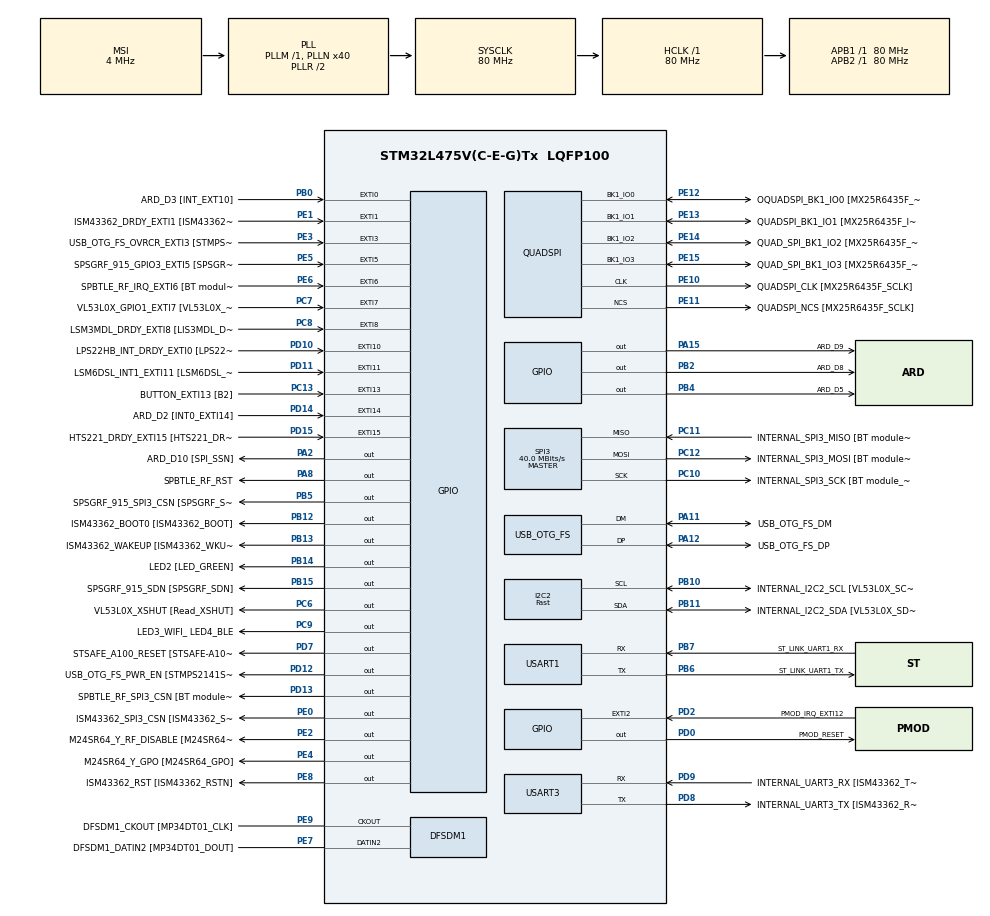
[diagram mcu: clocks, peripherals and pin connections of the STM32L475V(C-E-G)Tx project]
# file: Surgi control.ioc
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DFSDM1.DmaMode_reg_FIL0=ENABLE
DFSDM1.Filter_regChannel_FIL0=DFSDM_CHANNEL_2
Dma.DFSDM1_FLT0.0.Direction=DMA_PERIPH_TO_MEMORY
Dma.DFSDM1_FLT0.0.Instance=DMA1_Channel4
Dma.DFSDM1_FLT0.0.MemDataAlignment=DMA_MDATAALIGN_WORD
Dma.DFSDM1_FLT0.0.MemInc=DMA_MINC_ENABLE
Dma.DFSDM1_FLT0.0.Mode=DMA_CIRCULAR
Dma.DFSDM1_FLT0.0.PeriphDataAlignment=DMA_PDATAALIGN_WORD
Dma.DFSDM1_FLT0.0.PeriphInc=DMA_PINC_DISABLE
Dma.DFSDM1_FLT0.0.Priority=DMA_PRIORITY_LOW
Dma.Request0=DFSDM1_FLT0
I2C2.I2C_Speed_Mode=I2C_Fast
I2C2.Timing=0x00F12981
Mcu.Family=STM32L4
Mcu.Name=STM32L475V(C-E-G)Tx
Mcu.Package=LQFP100
NVIC.DFSDM1_FLT0_IRQn=true\:0\:0\:false\:false\:true\:true\:true\:true
NVIC.DMA1_Channel4_IRQn=true\:0\:0\:false\:false\:true\:false\:true\:true
NVIC.EXTI15_10_IRQn=true\:0\:0\:false\:false\:true\:true\:true\:true
NVIC.EXTI9_5_IRQn=true\:0\:0\:false\:false\:true\:true\:true\:true
NVIC.OTG_FS_IRQn=true\:0\:0\:false\:false\:true\:false\:true\:true
NVIC.PriorityGroup=NVIC_PRIORITYGROUP_4
PA0.GPIO_Label=ARD_D1 [UART4_TX]
PA0.Signal=UART4_TX
PA1.GPIO_Label=ARD_D0 [UART4_RX]
PA1.Signal=UART4_RX
PA10.GPIO_Label=USB_OTG_FS_ID
PA10.Signal=USB_OTG_FS_ID
PA11.GPIO_Label=USB_OTG_FS_DM
PA11.Mode=Device_Only
PA11.Signal=USB_OTG_FS_DM
PA12.GPIO_Label=USB_OTG_FS_DP
PA12.Mode=Device_Only
PA12.Signal=USB_OTG_FS_DP
PA13\ (JTMS-SWDIO).GPIO_Label=SYS_JTMS_SWDIO
PA13\ (JTMS-SWDIO).Mode=Serial_Wire
PA13\ (JTMS-SWDIO).Signal=SYS_JTMS-SWDIO
PA14\ (JTCK-SWCLK).GPIO_Label=SYS_JTCK_SWCLK
PA14\ (JTCK-SWCLK).Mode=Serial_Wire
PA14\ (JTCK-SWCLK).Signal=SYS_JTCK-SWCLK
PA15\ (JTDI).GPIO_Label=ARD_D9
PA15\ (JTDI).Signal=GPIO_Output
PA2.GPIO_Label=ARD_D10 [SPI_SSN]
PA2.Signal=GPIO_Output
PA3.GPIO_Label=ARD_D4
PA3.Signal=S_TIM2_CH4
PA4.GPIO_Label=ARD_D7
PA4.Signal=ADCx_IN9
PA5.GPIO_Label=ARD_D13 [SPI1_SCK]
PA5.Signal=SPI1_SCK
PA6.GPIO_Label=ARD_D12 [SPI1_MISO]
PA6.Signal=SPI1_MISO
PA7.GPIO_Label=ARD_D11 [SPI1_MOSI]
PA7.Signal=SPI1_MOSI
PA8.GPIO_Label=SPBTLE_RF_RST
PA8.Signal=GPIO_Output
PA9.GPIO_Label=USB_OTG_FS_VBUS [STMPS2141STR_OUT]
PA9.Signal=USB_OTG_FS_VBUS
PB0.GPIO_Label=ARD_D3 [INT_EXT10]
PB0.Signal=GPXTI0
PB1.GPIO_Label=ARD_D6 [ADC1_IN6]
PB1.Signal=ADCx_IN16
PB10.GPIO_Label=INTERNAL_I2C2_SCL [VL53L0X_SCL]
PB10.GPIO_Pu=GPIO_PULLUP
PB10.Mode=I2C
PB10.Signal=I2C2_SCL
PB11.GPIO_Label=INTERNAL_I2C2_SDA [VL53L0X_SDA]
PB11.GPIO_Pu=GPIO_PULLUP
PB11.Mode=I2C
PB11.Signal=I2C2_SDA
PB12.GPIO_Label=ISM43362_BOOT0 [ISM43362_BOOT]
PB12.Signal=GPIO_Output
PB13.GPIO_Label=ISM43362_WAKEUP [ISM43362_WKUP]
PB13.Signal=GPIO_Output
PB14.GPIO_Label=LED2 [LED_GREEN]
PB14.Signal=GPIO_Output
PB15.GPIO_Label=SPSGRF_915_SDN [SPSGRF_SDN]
PB15.Signal=GPIO_Output
PB2.GPIO_Label=ARD_D8
PB2.Signal=GPIO_Output
PB3\ (JTDO-TRACESWO).GPIO_Label=SYS_JTD0_SWO
PB3\ (JTDO-TRACESWO).Signal=SYS_JTDO-SWO
PB4\ (NJTRST).GPIO_Label=ARD_D5
PB4\ (NJTRST).Signal=GPIO_Output
PB5.GPIO_Label=SPSGRF_915_SPI3_CSN [SPSGRF_SPI_CS]
PB5.PinState=GPIO_PIN_SET
PB5.Signal=GPIO_Output
PB6.GPIO_Label=ST_LINK_UART1_TX
PB6.Mode=Asynchronous
PB6.Signal=USART1_TX
PB7.GPIO_Label=ST_LINK_UART1_RX
PB7.Mode=Asynchronous
PB7.Signal=USART1_RX
PB8.GPIO_Label=ARD_D15 [I2C1_SCL]
PB8.Signal=I2C1_SCL
PB9.GPIO_Label=ARD_D14 [I2C1_SDA]
PB9.Signal=I2C1_SDA
PC0.GPIO_Label=ARD_A5 [ADC]
PC0.Signal=ADCx_IN1
PC1.GPIO_Label=ARD_A4 [ADC]
PC1.Signal=ADCx_IN2
PC10.GPIO_Label=INTERNAL_SPI3_SCK [BT module_SPI_SCLK] [ISM43362_SCK]
PC10.Mode=Full_Duplex_Master
PC10.Signal=SPI3_SCK
PC11.GPIO_Label=INTERNAL_SPI3_MISO [BT module_SPI_MISO] [ISM43362_MISO]
PC11.Mode=Full_Duplex_Master
PC11.Signal=SPI3_MISO
PC12.GPIO_Label=INTERNAL_SPI3_MOSI [BT module_SPI_MOSI] [ISM43362_MOSI]
PC12.Mode=Full_Duplex_Master
PC12.Signal=SPI3_MOSI
PC13.GPIO_Label=BUTTON_EXTI13 [B2]
PC13.GPIO_ModeDefaultEXTI=GPIO_MODE_IT_FALLING
PC13.Signal=GPXTI13
PC14-OSC32_IN\ (PC14).Mode=LSE-External-Oscillator
PC14-OSC32_IN\ (PC14).Signal=RCC_OSC32_IN
PC15-OSC32_OUT\ (PC15).Mode=LSE-External-Oscillator
PC15-OSC32_OUT\ (PC15).Signal=RCC_OSC32_OUT
PC2.GPIO_Label=ARD_A3 [ADC]
PC2.Signal=ADCx_IN3
PC3.GPIO_Label=ARD_A2 [ADC]
PC3.Signal=ADCx_IN4
PC4.GPIO_Label=ARD_A1 [ADC]
PC4.Signal=ADCx_IN13
PC5.GPIO_Label=ARD_A0 [ADC]
PC5.Signal=ADCx_IN14
PC6.GPIO_Label=VL53L0X_XSHUT [Read_XSHUT]
PC6.Signal=GPIO_Output
PC7.GPIO_Label=VL53L0X_GPIO1_EXTI7 [VL53L0X_GPIO1]
PC7.Signal=GPXTI7
PC8.GPIO_Label=LSM3MDL_DRDY_EXTI8 [LIS3MDL_DRDY]
PC8.Signal=GPXTI8
PC9.GPIO_Label=LED3_WIFI_ LED4_BLE
PC9.Signal=GPIO_Output
PD0.GPIO_Label=PMOD_RESET
PD0.Signal=GPIO_Output
PD1.GPIO_Label=PMOD_SPI2_SCK
PD1.Signal=SPI2_SCK
PD10.GPIO_Label=LPS22HB_INT_DRDY_EXTI0 [LPS22HB_INT_DRDY] 
PD10.Signal=GPXTI10
PD11.GPIO_Label=LSM6DSL_INT1_EXTI11 [LSM6DSL_INT1]
PD11.Signal=GPXTI11
PD12.GPIO_Label=USB_OTG_FS_PWR_EN [STMPS2141STR_EN]
PD12.Signal=GPIO_Output
PD13.GPIO_Label=SPBTLE_RF_SPI3_CSN [BT module_SPI_CS]
PD13.PinState=GPIO_PIN_SET
PD13.Signal=GPIO_Output
PD14.GPIO_Label=ARD_D2 [INT0_EXTI14]
PD14.Signal=GPXTI14
PD15.GPIO_Label=HTS221_DRDY_EXTI15 [HTS221_DRDY]
PD15.Signal=GPXTI15
PD2.GPIO_Label=PMOD_IRQ_EXTI12
PD2.Signal=GPXTI2
PD3.GPIO_Label=PMOD_UART2_CTS
PD3.Signal=USART2_CTS
PD4.GPIO_Label=PMOD_UART2_RTS
PD4.Signal=USART2_RTS
PD5.GPIO_Label=PMOD_UART2_TX
PD5.Signal=USART2_TX
PD6.GPIO_Label=PMOD_UART2_RX
PD6.Signal=USART2_RX
PD7.GPIO_Label=STSAFE_A100_RESET [STSAFE-A100_RESET]
PD7.Signal=GPIO_Output
PD8.GPIO_Label=INTERNAL_UART3_TX [ISM43362_RX]
PD8.Mode=Asynchronous
PD8.Signal=USART3_TX
PD9.GPIO_Label=INTERNAL_UART3_RX [ISM43362_TX]
PD9.Mode=Asynchronous
PD9.Signal=USART3_RX
PE0.GPIO_Label=ISM43362_SPI3_CSN [ISM43362_SSN]
PE0.PinState=GPIO_PIN_SET
PE0.Signal=GPIO_Output
PE1.GPIO_Label=ISM43362_DRDY_EXTI1 [ISM43362_DATARDY]
PE1.Signal=GPXTI1
PE10.GPIO_Label=QUADSPI_CLK [MX25R6435F_SCLK]
PE10.Mode=Single Bank
PE10.Signal=QUADSPI_CLK
PE11.GPIO_Label=QUADSPI_NCS [MX25R6435F_SCLK]
PE11.Mode=Single Bank
PE11.Signal=QUADSPI_NCS
PE12.GPIO_Label=OQUADSPI_BK1_IO0 [MX25R6435F_IO0]
PE12.Mode=Single Bank
PE12.Signal=QUADSPI_BK1_IO0
PE13.GPIO_Label=QUADSPI_BK1_IO1 [MX25R6435F_IO1]
PE13.Mode=Single Bank
PE13.Signal=QUADSPI_BK1_IO1
PE14.GPIO_Label=QUAD_SPI_BK1_IO2 [MX25R6435F_IO2]
PE14.Mode=Single Bank
PE14.Signal=QUADSPI_BK1_IO2
PE15.GPIO_Label=QUAD_SPI_BK1_IO3 [MX25R6435F_IO3]
PE15.Mode=Single Bank
PE15.Signal=QUADSPI_BK1_IO3
PE2.GPIO_Label=M24SR64_Y_RF_DISABLE [M24SR64_RFDIS]
PE2.Signal=GPIO_Output
PE3.GPIO_Label=USB_OTG_FS_OVRCR_EXTI3 [STMPS2141STR_FAULT]
PE3.Signal=GPXTI3
PE4.GPIO_Label=M24SR64_Y_GPO [M24SR64_GPO]
PE4.Signal=GPIO_Output
PE5.GPIO_Label=SPSGRF_915_GPIO3_EXTI5 [SPSGRF_GPIO_3]
PE5.Signal=GPXTI5
PE6.GPIO_Label=SPBTLE_RF_IRQ_EXTI6 [BT module_SPI_IRQ]
PE6.Signal=GPXTI6
PE7.GPIO_Label=DFSDM1_DATIN2 [MP34DT01_DOUT]
PE7.Signal=S_DATAIN2DFSDM1
PE8.GPIO_Label=ISM43362_RST [ISM43362_RSTN]
PE8.Signal=GPIO_Output
PE9.GPIO_Label=DFSDM1_CKOUT [MP34DT01_CLK]
PE9.Signal=S_CKOUTDFSDM1
ProjectManager.HeapSize=0x200
ProjectManager.StackSize=0x400
ProjectManager.TargetToolchain=STM32CubeIDE
QUADSPI.ClockPrescaler=2
QUADSPI.FifoThreshold=4
QUADSPI.FlashSize=23
QUADSPI.SampleShifting=QSPI_SAMPLE_SHIFTING_HALFCYCLE
RCC.ADCFreq_Value=48000000
RCC.AHBFreq_Value=80000000
RCC.APB1Freq_Value=80000000
RCC.APB1TimFreq_Value=80000000
RCC.APB2Freq_Value=80000000
RCC.APB2TimFreq_Value=80000000
RCC.CortexFreq_Value=80000000
RCC.HCLKFreq_Value=80000000
RCC.HSE_VALUE=8000000
RCC.HSI_VALUE=16000000
RCC.MSI_VALUE=4000000
RCC.PLLN=40
RCC.PLLSAI1N=24
RCC.SYSCLKFreq_VALUE=80000000
RCC.SYSCLKSource=RCC_SYSCLKSOURCE_PLLCLK
RCC.USBFreq_Value=48000000
RCC.VCOOutputFreq_Value=160000000
SH.ADCx_IN1.0=ADC1_IN1
SH.ADCx_IN13.0=ADC1_IN13
SH.ADCx_IN14.0=ADC1_IN14
SH.ADCx_IN16.0=ADC1_IN16
SH.ADCx_IN2.0=ADC1_IN2
SH.ADCx_IN3.0=ADC1_IN3
SH.ADCx_IN4.0=ADC1_IN4
SH.ADCx_IN9.0=ADC1_IN9
SH.S_CKOUTDFSDM1.0=DFSDM1_CKOUT,PDM_SPI_input_from_ch2_and_internal_clock
SH.S_CKOUTDFSDM1.1=DFSDM1_CKOUT,CKOUT
SH.S_DATAIN2DFSDM1.0=DFSDM1_DATIN2,PDM_SPI_input_from_ch2_and_internal_clock
SH.S_TIM2_CH4.0=TIM2_CH4
SPI3.CalculateBaudRate=40.0 MBits/s
SPI3.Direction=SPI_DIRECTION_2LINES
SPI3.Mode=SPI_MODE_MASTER
SPI3.VirtualType=VM_MASTER
USART1.VirtualMode-Asynchronous=VM_ASYNC
USART3.VirtualMode-Asynchronous=VM_ASYNC
USB_DEVICE.CLASS_NAME_FS=HID
USB_DEVICE.PID_HID_FS=5750
USB_DEVICE.VirtualMode=Hid
USB_DEVICE.VirtualModeFS=Hid_FS
USB_OTG_FS.VirtualMode=Device_Only
VP_USB_DEVICE_VS_USB_DEVICE_HID_FS.Mode=HID_FS
board=B-L475E-IOT01A2

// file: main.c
/* USER CODE BEGIN Header */
/**
  ******************************************************************************
  * @file           : main.c
  * @brief          : SURGI-CONTROL

  ******************************************************************************
  */
/* USER CODE END Header */
#include "main.h"
#include "usb_device.h"

/* USER CODE BEGIN Includes */
#include "stm32l475e_iot01.h"
#include "usbd_hid.h"
#include <math.h>
#include <stdlib.h>
#include <stdio.h>

#include "vl53l0x_api.h"
#include "vl53l0x_platform.h"
/* USER CODE END Includes */

/* USER CODE BEGIN PTD */
typedef struct {
	uint8_t MODIFIER;
	uint8_t RESERVED;
	uint8_t KEYCODE1;
	uint8_t KEYCODE2;
	uint8_t KEYCODE3;
	uint8_t KEYCODE4;
	uint8_t KEYCODE5;
	uint8_t KEYCODE6;
} KeyboardReport_t;
/* USER CODE END PTD */

/* USER CODE BEGIN PD */
// --- AUDIO ---
#define SEUIL_VARIATION     8000
#define CLAP_MIN_DUREE      1
#define CLAP_MAX_DUREE      10
#define TIMEOUT_PATIENCE    2000

// --- DISTANCE TEMPORELLE ---
#define DIST_MAX_VALIDE     1300
#define TIME_WINDOW         500
#define COOLDOWN_ACTION     1500

// Seuils
#define DELTA_ZOOM          70
#define DELTA_STABLE        30

// Zones
#define ZONE_GAUCHE         140
#define ZONE_DROITE_MIN     200
#define ZONE_DROITE_MAX     500

#define SMOOTH_WINDOW       3
/* USER CODE END PD */

DFSDM_Filter_HandleTypeDef hdfsdm1_filter0;
DFSDM_Channel_HandleTypeDef hdfsdm1_channel2;
DMA_HandleTypeDef hdma_dfsdm1_flt0;

I2C_HandleTypeDef hi2c2;
QSPI_HandleTypeDef hqspi;
SPI_HandleTypeDef hspi3;
UART_HandleTypeDef huart1;
UART_HandleTypeDef huart3;

/* USER CODE BEGIN PV */
extern USBD_HandleTypeDef hUsbDeviceFS;

// Capteurs
VL53L0X_Dev_t  vl53l0x_c;
VL53L0X_DEV    Dev = &vl53l0x_c;
VL53L0X_RangingMeasurementData_t RangingData;

// Audio
#define MIC_BUFFER_SIZE 256
int32_t MicBuffer[MIC_BUFFER_SIZE];
volatile uint8_t dma_data_ready = 0;

uint32_t bruit_fond = 0;
uint32_t amplitude_actuelle = 0;
uint32_t duree_son_fort = 0;
uint8_t  son_en_cours = 0;
uint8_t  clap_count = 0;
uint32_t last_clap_time = 0;

// Logique Distance
uint16_t dist_buffer[SMOOTH_WINDOW] = {0};
uint8_t  dist_idx = 0;
uint16_t dist_reference = 0;
uint32_t time_reference = 0;
uint8_t  hand_present = 0;
uint32_t cooldown_timer = 0;

uint16_t dist_precedente = 0;
uint32_t last_dist_time = 0;
uint32_t timer_stabilite = 0;

// Debug
uint32_t last_debug_time = 0;
/* USER CODE END PV */

void SystemClock_Config(void);
static void MX_GPIO_Init(void);
static void MX_DMA_Init(void);
static void MX_DFSDM1_Init(void);
static void MX_I2C2_Init(void);
static void MX_QUADSPI_Init(void);
static void MX_SPI3_Init(void);
static void MX_USART1_UART_Init(void);
static void MX_USART3_UART_Init(void);
static void FORCE_DFSDM_GPIO_Init(void);

/* USER CODE BEGIN 0 */

int _write(int file, char *ptr, int len) {
    HAL_UART_Transmit(&huart1, (uint8_t*)ptr, len, HAL_MAX_DELAY);
    return len;
}

void Send_Key(uint8_t modifier, uint8_t key) {
    KeyboardReport_t report = {0};

    // 1. Appui Touche
    report.MODIFIER = modifier;
    report.KEYCODE1 = key;
    USBD_HID_SendReport(&hUsbDeviceFS, (uint8_t*)&report, sizeof(report));
    HAL_Delay(30); //  30ms pour fiabilité

    // 2. Relachement Touche
    report.MODIFIER = 0;
    report.KEYCODE1 = 0;
    USBD_HID_SendReport(&hUsbDeviceFS, (uint8_t*)&report, sizeof(report));
    HAL_Delay(30); // 30ms pour etre sur que le PC a compris
}

void HAL_DFSDM_FilterRegConvHalfCpltCallback(DFSDM_Filter_HandleTypeDef *hdfsdm_filter) {
    dma_data_ready = 1;
}
void HAL_DFSDM_FilterRegConvCpltCallback(DFSDM_Filter_HandleTypeDef *hdfsdm_filter) {
    dma_data_ready = 1;
}

static void FORCE_DFSDM_GPIO_Init(void)
{
    GPIO_InitTypeDef GPIO_InitStruct = {0};
    __HAL_RCC_GPIOE_CLK_ENABLE();
    GPIO_InitStruct.Pin = GPIO_PIN_7 | GPIO_PIN_9;
    GPIO_InitStruct.Mode = GPIO_MODE_AF_PP;
    GPIO_InitStruct.Pull = GPIO_NOPULL;
    GPIO_InitStruct.Speed = GPIO_SPEED_FREQ_VERY_HIGH;
    GPIO_InitStruct.Alternate = GPIO_AF6_DFSDM1;
    HAL_GPIO_Init(GPIOE, &GPIO_InitStruct);
}

uint32_t Compute_Amplitude() {
    int32_t min = 2147483647;
    int32_t max = -2147483648;
    int32_t val;
    for(int i=0; i<MIC_BUFFER_SIZE; i++) {
        val = MicBuffer[i] >> 8;
        if (val > -8000000 && val < 8000000) {
            if (val < min) min = val;
            if (val > max) max = val;
        }
    }
    if (min > max) return 0;
    return (uint32_t)(max - min);
}

void Calibrate_Noise_Floor() {
    printf("CALIBRATION...");
    uint32_t sum = 0;
    int samples = 0;
    uint32_t start = HAL_GetTick();
    while (HAL_GetTick() - start < 1000) {
        if (dma_data_ready) {
            dma_data_ready = 0;
            sum += Compute_Amplitude();
            samples++;
        }
    }
    if (samples > 0) bruit_fond = sum / samples;
    else bruit_fond = 1000;
    if (bruit_fond < 500) bruit_fond = 500;
    printf("FOND=%lu.\r\n", bruit_fond);
    for(int i=0; i<3; i++) { HAL_GPIO_TogglePin(GPIOB, GPIO_PIN_14); HAL_Delay(100); }
}

int Setup_VL53L0X() {
    uint32_t refSpadCount;
    uint8_t isApertureSpads;
    uint8_t VhvSettings;
    uint8_t PhaseCal;
    HAL_GPIO_WritePin(GPIOC, GPIO_PIN_6, GPIO_PIN_RESET);
    HAL_Delay(10);
    HAL_GPIO_WritePin(GPIOC, GPIO_PIN_6, GPIO_PIN_SET);
    HAL_Delay(10);
    Dev->I2cHandle = &hi2c2;
    Dev->I2cDevAddr = 0x52;
    if(VL53L0X_DataInit(Dev) != VL53L0X_ERROR_NONE) return -1;
    if(VL53L0X_StaticInit(Dev) != VL53L0X_ERROR_NONE) return -1;
    if(VL53L0X_PerformRefCalibration(Dev, &VhvSettings, &PhaseCal) != VL53L0X_ERROR_NONE) return -1;
    if(VL53L0X_PerformRefSpadManagement(Dev, &refSpadCount, &isApertureSpads) != VL53L0X_ERROR_NONE) return -1;
    if(VL53L0X_SetDeviceMode(Dev, VL53L0X_DEVICEMODE_CONTINUOUS_RANGING) != VL53L0X_ERROR_NONE) return -1;
    if(VL53L0X_StartMeasurement(Dev) != VL53L0X_ERROR_NONE) return -1;
    return 0;
}
/* USER CODE END 0 */

int main(void)
{
  HAL_Init();
  SystemClock_Config();

  __HAL_RCC_DFSDM1_CLK_ENABLE();
  __HAL_RCC_DMA1_CLK_ENABLE();
  __HAL_RCC_GPIOE_CLK_ENABLE();

  MX_GPIO_Init();
  MX_DMA_Init();
  FORCE_DFSDM_GPIO_Init();
  MX_DFSDM1_Init();
  MX_I2C2_Init();
  MX_QUADSPI_Init();
  MX_SPI3_Init();
  MX_USART1_UART_Init();
  MX_USART3_UART_Init();
  MX_USB_DEVICE_Init();

  printf("\r\n=== SURGI-CONTROL===\r\n");

  if(Setup_VL53L0X() != 0) printf("Erreur VL53L0X\r\n");
  else printf("VL53L0X OK\r\n");

  hdfsdm1_filter0.Instance->FLTICR = 0x000000FF;

  if (HAL_DFSDM_FilterRegularStart_DMA(&hdfsdm1_filter0, MicBuffer, MIC_BUFFER_SIZE) != HAL_OK) {
      printf("ERREUR DMA\r\n");
  }
  HAL_Delay(100);
  HAL_DFSDM_ChannelCkabStart(&hdfsdm1_channel2);

  Calibrate_Noise_Floor();

  while (1)
  {
    uint32_t now = HAL_GetTick();

    // ============================================================
    // 1. AUDIO DETECTION
    // ============================================================
    if (dma_data_ready == 1) {
        dma_data_ready = 0;
        amplitude_actuelle = Compute_Amplitude();

        if (amplitude_actuelle > (bruit_fond + SEUIL_VARIATION)) {
            duree_son_fort++;
            son_en_cours = 1;
        }
        else {
            if (son_en_cours == 1) {
                // Filtre Duree (Clap vs Bruit)
                if (duree_son_fort >= CLAP_MIN_DUREE && duree_son_fort < CLAP_MAX_DUREE) {
                    if (now - last_clap_time > 250) {
                        clap_count++;
                        last_clap_time = now;
                        printf(">>> CLAP (%d) | Amp=%lu\r\n", clap_count, amplitude_actuelle);
                    }
                }
                son_en_cours = 0;
                duree_son_fort = 0;
            }
        }
    } // FIN DU BLOC DMA

    // ============================================================
    // 2. GESTION DES ACTIONS (SORTI DU BLOC DMA)
    // ============================================================
    if(clap_count > 0 && (now - last_clap_time > TIMEOUT_PATIENCE)) {

        // Securite : On reinitialise le clavier avant l'action
        Send_Key(0,0);

        if(clap_count == 1) {
            printf("ACTION: Scroll BAS\r\n");
            for(int i=0; i<10; i++) Send_Key(0x00, 0x51);
        }
        else if(clap_count == 2) {
            printf("ACTION: Scroll HAUT\r\n");
            for(int i=0; i<10; i++) Send_Key(0x00, 0x52);
        }
        else if(clap_count == 3) {
            printf("ACTION: Onglet SUIVANT\r\n");
            Send_Key(0x01, 0x2B); // Ctrl+Tab
        }
        else if(clap_count == 4) {
            printf("ACTION: Onglet PRECEDENT\r\n");
            Send_Key(0x03, 0x2B); // Ctrl+Shift+Tab
        }

        // Reset immediat
        clap_count = 0;
    }

    // ============================================================
    // 3. DISTANCE (ZOOM & NAV)
    // ============================================================
    if(now - last_dist_time > 50) {
        VL53L0X_GetRangingMeasurementData(Dev, &RangingData);
        uint16_t raw_dist = RangingData.RangeMilliMeter;

        // --- LISSAGE ---
        dist_buffer[dist_idx] = raw_dist;
        dist_idx = (dist_idx + 1) % SMOOTH_WINDOW;
        uint32_t sum = 0;
        for(int k=0; k<SMOOTH_WINDOW; k++) sum += dist_buffer[k];
        uint16_t current_dist = sum / SMOOTH_WINDOW;

        // --- COOLDOWN ---
        if (now < cooldown_timer) {
            dist_reference = current_dist;
            time_reference = now;
        }
        else {
            // --- ANALYSE ---
            if (current_dist > DIST_MAX_VALIDE || current_dist < 10) {
                hand_present = 0;
                dist_reference = 0;
            }
            else {
                if (hand_present == 0) {
                    hand_present = 1;
                    dist_reference = current_dist;
                    time_reference = now;
                }
                else {
                    if (now - time_reference > TIME_WINDOW) {
                        int16_t delta = (int16_t)current_dist - (int16_t)dist_reference;

                        // CAS 1 : ZOOM
                        if (abs(delta) > DELTA_ZOOM) {
                            if (delta > 0) {
                                printf("ACTION: ZOOM - (Delta=%d)\r\n", delta);
                                Send_Key(0x01, 0x56);
                            } else {
                                printf("ACTION: ZOOM + (Delta=%d)\r\n", delta);
                                Send_Key(0x01, 0x57);
                            }
                            cooldown_timer = now + COOLDOWN_ACTION;
                        }
                        // CAS 2 : NAVIGATION
                        else if (abs(delta) < DELTA_STABLE) {
                            if (current_dist < ZONE_GAUCHE) {
                                printf("ACTION: GAUCHE\r\n");
                                Send_Key(0x00, 0x50);
                                cooldown_timer = now + COOLDOWN_ACTION;
                            }
                            else if (current_dist > ZONE_DROITE_MIN && current_dist < ZONE_DROITE_MAX) {
                                printf("ACTION: DROITE\r\n");
                                Send_Key(0x00, 0x4F);
                                cooldown_timer = now + COOLDOWN_ACTION;
                            }
                        }
                        dist_reference = current_dist;
                        time_reference = now;
                    }
                }
            }
        }
        VL53L0X_ClearInterruptMask(Dev, 0);
        last_dist_time = now;
    }

    if (now - last_debug_time > 3000) {
        printf("Status: Amp=%lu | Dist=%d\r\n",
               amplitude_actuelle, RangingData.RangeMilliMeter);
        HAL_GPIO_TogglePin(GPIOB, GPIO_PIN_14);
        last_debug_time = now;
    }
  }
}

void SystemClock_Config(void)
{
  RCC_OscInitTypeDef RCC_OscInitStruct = {0};
  RCC_ClkInitTypeDef RCC_ClkInitStruct = {0};
  RCC_PeriphCLKInitTypeDef PeriphClkInit = {0};

  if (HAL_PWREx_ControlVoltageScaling(PWR_REGULATOR_VOLTAGE_SCALE1) != HAL_OK) Error_Handler();

  HAL_PWR_EnableBkUpAccess();
  __HAL_RCC_LSEDRIVE_CONFIG(RCC_LSEDRIVE_LOW);

  RCC_OscInitStruct.OscillatorType = RCC_OSCILLATORTYPE_LSE|RCC_OSCILLATORTYPE_MSI;
  RCC_OscInitStruct.LSEState = RCC_LSE_ON;
  RCC_OscInitStruct.MSIState = RCC_MSI_ON;
  RCC_OscInitStruct.MSICalibrationValue = 0;
  RCC_OscInitStruct.MSIClockRange = RCC_MSIRANGE_6;
  RCC_OscInitStruct.PLL.PLLState = RCC_PLL_ON;
  RCC_OscInitStruct.PLL.PLLSource = RCC_PLLSOURCE_MSI;
  RCC_OscInitStruct.PLL.PLLM = 1;
  RCC_OscInitStruct.PLL.PLLN = 40;
  RCC_OscInitStruct.PLL.PLLP = RCC_PLLP_DIV7;
  RCC_OscInitStruct.PLL.PLLQ = RCC_PLLQ_DIV2;
  RCC_OscInitStruct.PLL.PLLR = RCC_PLLR_DIV2;
  if (HAL_RCC_OscConfig(&RCC_OscInitStruct) != HAL_OK) Error_Handler();

  RCC_ClkInitStruct.ClockType = RCC_CLOCKTYPE_HCLK|RCC_CLOCKTYPE_SYSCLK|RCC_CLOCKTYPE_PCLK1|RCC_CLOCKTYPE_PCLK2;
  RCC_ClkInitStruct.SYSCLKSource = RCC_SYSCLKSOURCE_PLLCLK;
  RCC_ClkInitStruct.AHBCLKDivider = RCC_SYSCLK_DIV1;
  RCC_ClkInitStruct.APB1CLKDivider = RCC_HCLK_DIV1;
  RCC_ClkInitStruct.APB2CLKDivider = RCC_HCLK_DIV1;

  if (HAL_RCC_ClockConfig(&RCC_ClkInitStruct, FLASH_LATENCY_4) != HAL_OK) Error_Handler();

  PeriphClkInit.PeriphClockSelection = RCC_PERIPHCLK_DFSDM1;
  PeriphClkInit.Dfsdm1ClockSelection = RCC_DFSDM1CLKSOURCE_PCLK;
  if (HAL_RCCEx_PeriphCLKConfig(&PeriphClkInit) != HAL_OK) Error_Handler();

  HAL_RCCEx_EnableMSIPLLMode();
}

static void MX_DFSDM1_Init(void)
{
  __HAL_RCC_DFSDM1_CLK_ENABLE();

  hdfsdm1_filter0.Instance = DFSDM1_Filter0;
  hdfsdm1_filter0.Init.RegularParam.Trigger = DFSDM_FILTER_SW_TRIGGER;
  hdfsdm1_filter0.Init.RegularParam.FastMode = ENABLE;
  hdfsdm1_filter0.Init.RegularParam.DmaMode = ENABLE;
  hdfsdm1_filter0.Init.FilterParam.SincOrder = DFSDM_FILTER_SINC3_ORDER;
  hdfsdm1_filter0.Init.FilterParam.Oversampling = 64;
  hdfsdm1_filter0.Init.FilterParam.IntOversampling = 1;
  if (HAL_DFSDM_FilterInit(&hdfsdm1_filter0) != HAL_OK) Error_Handler();

  hdfsdm1_channel2.Instance = DFSDM1_Channel2;
  hdfsdm1_channel2.Init.OutputClock.Activation = ENABLE;
  hdfsdm1_channel2.Init.OutputClock.Selection = DFSDM_CHANNEL_OUTPUT_CLOCK_SYSTEM;
  hdfsdm1_channel2.Init.OutputClock.Divider = 40;
  hdfsdm1_channel2.Init.Input.Multiplexer = DFSDM_CHANNEL_EXTERNAL_INPUTS;
  hdfsdm1_channel2.Init.Input.DataPacking = DFSDM_CHANNEL_STANDARD_MODE;
  hdfsdm1_channel2.Init.Input.Pins = DFSDM_CHANNEL_SAME_CHANNEL_PINS;
  hdfsdm1_channel2.Init.SerialInterface.Type = DFSDM_CHANNEL_SPI_RISING;
  hdfsdm1_channel2.Init.SerialInterface.SpiClock = DFSDM_CHANNEL_SPI_CLOCK_INTERNAL;
  hdfsdm1_channel2.Init.Awd.FilterOrder = DFSDM_CHANNEL_FASTSINC_ORDER;
  hdfsdm1_channel2.Init.Awd.Oversampling = 1;
  hdfsdm1_channel2.Init.Offset = 0;
  hdfsdm1_channel2.Init.RightBitShift = 0x02;
  if (HAL_DFSDM_ChannelInit(&hdfsdm1_channel2) != HAL_OK) Error_Handler();

  __HAL_LINKDMA(&hdfsdm1_filter0, hdmaReg, hdma_dfsdm1_flt0);

  if (HAL_DFSDM_FilterConfigRegChannel(&hdfsdm1_filter0, DFSDM_CHANNEL_2, DFSDM_CONTINUOUS_CONV_ON) != HAL_OK) Error_Handler();
}

static void MX_DMA_Init(void)
{
  __HAL_RCC_DMA1_CLK_ENABLE();
  HAL_NVIC_SetPriority(DMA1_Channel4_IRQn, 0, 0);
  HAL_NVIC_EnableIRQ(DMA1_Channel4_IRQn);
}

static void MX_GPIO_Init(void) {
  GPIO_InitTypeDef GPIO_InitStruct = {0};
  __HAL_RCC_GPIOE_CLK_ENABLE();
  __HAL_RCC_GPIOC_CLK_ENABLE();
  __HAL_RCC_GPIOA_CLK_ENABLE();
  __HAL_RCC_GPIOB_CLK_ENABLE();
  __HAL_RCC_GPIOD_CLK_ENABLE();

  HAL_GPIO_WritePin(GPIOE, M24SR64_Y_RF_DISABLE_Pin|M24SR64_Y_GPO_Pin|ISM43362_RST_Pin, GPIO_PIN_RESET);
  HAL_GPIO_WritePin(GPIOA, ARD_D10_Pin|SPBTLE_RF_RST_Pin|ARD_D9_Pin, GPIO_PIN_RESET);
  HAL_GPIO_WritePin(GPIOB, ARD_D8_Pin|ISM43362_BOOT0_Pin|ISM43362_WAKEUP_Pin|LED2_Pin
                          |SPSGRF_915_SDN_Pin|ARD_D5_Pin, GPIO_PIN_RESET);
  HAL_GPIO_WritePin(GPIOD, USB_OTG_FS_PWR_EN_Pin|PMOD_RESET_Pin|STSAFE_A100_RESET_Pin, GPIO_PIN_RESET);
  HAL_GPIO_WritePin(SPBTLE_RF_SPI3_CSN_GPIO_Port, SPBTLE_RF_SPI3_CSN_Pin, GPIO_PIN_SET);
  HAL_GPIO_WritePin(GPIOC, VL53L0X_XSHUT_Pin|LED3_WIFI__LED4_BLE_Pin, GPIO_PIN_RESET);
  HAL_GPIO_WritePin(SPSGRF_915_SPI3_CSN_GPIO_Port, SPSGRF_915_SPI3_CSN_Pin, GPIO_PIN_SET);
  HAL_GPIO_WritePin(ISM43362_SPI3_CSN_GPIO_Port, ISM43362_SPI3_CSN_Pin, GPIO_PIN_SET);

  GPIO_InitStruct.Pin = M24SR64_Y_RF_DISABLE_Pin|M24SR64_Y_GPO_Pin|ISM43362_RST_Pin|ISM43362_SPI3_CSN_Pin;
  GPIO_InitStruct.Mode = GPIO_MODE_OUTPUT_PP;
  GPIO_InitStruct.Pull = GPIO_NOPULL;
  GPIO_InitStruct.Speed = GPIO_SPEED_FREQ_LOW;
  HAL_GPIO_Init(GPIOE, &GPIO_InitStruct);

  GPIO_InitStruct.Pin = USB_OTG_FS_OVRCR_EXTI3_Pin|SPSGRF_915_GPIO3_EXTI5_Pin|SPBTLE_RF_IRQ_EXTI6_Pin|ISM43362_DRDY_EXTI1_Pin;
  GPIO_InitStruct.Mode = GPIO_MODE_IT_RISING;
  GPIO_InitStruct.Pull = GPIO_NOPULL;
  HAL_GPIO_Init(GPIOE, &GPIO_InitStruct);

  GPIO_InitStruct.Pin = BUTTON_EXTI13_Pin;
  GPIO_InitStruct.Mode = GPIO_MODE_IT_FALLING;
  GPIO_InitStruct.Pull = GPIO_NOPULL;
  HAL_GPIO_Init(BUTTON_EXTI13_GPIO_Port, &GPIO_InitStruct);

  GPIO_InitStruct.Pin = ARD_A5_Pin|ARD_A4_Pin|ARD_A3_Pin|ARD_A2_Pin|ARD_A1_Pin|ARD_A0_Pin;
  GPIO_InitStruct.Mode = GPIO_MODE_ANALOG_ADC_CONTROL;
  GPIO_InitStruct.Pull = GPIO_NOPULL;
  HAL_GPIO_Init(GPIOC, &GPIO_InitStruct);

  GPIO_InitStruct.Pin = ARD_D1_Pin|ARD_D0_Pin;
  GPIO_InitStruct.Mode = GPIO_MODE_AF_PP;
  GPIO_InitStruct.Pull = GPIO_NOPULL;
  GPIO_InitStruct.Speed = GPIO_SPEED_FREQ_VERY_HIGH;
  GPIO_InitStruct.Alternate = GPIO_AF8_UART4;
  HAL_GPIO_Init(GPIOA, &GPIO_InitStruct);

  GPIO_InitStruct.Pin = ARD_D10_Pin|SPBTLE_RF_RST_Pin|ARD_D9_Pin;
  GPIO_InitStruct.Mode = GPIO_MODE_OUTPUT_PP;
  GPIO_InitStruct.Pull = GPIO_NOPULL;
  GPIO_InitStruct.Speed = GPIO_SPEED_FREQ_LOW;
  HAL_GPIO_Init(GPIOA, &GPIO_InitStruct);

  GPIO_InitStruct.Pin = ARD_D4_Pin;
  GPIO_InitStruct.Mode = GPIO_MODE_AF_PP;
  GPIO_InitStruct.Pull = GPIO_NOPULL;
  GPIO_InitStruct.Speed = GPIO_SPEED_FREQ_LOW;
  HAL_GPIO_Init(ARD_D4_GPIO_Port, &GPIO_InitStruct);

  GPIO_InitStruct.Pin = ARD_D7_Pin;
  GPIO_InitStruct.Mode = GPIO_MODE_ANALOG_ADC_CONTROL;
  GPIO_InitStruct.Pull = GPIO_NOPULL;
  HAL_GPIO_Init(ARD_D7_GPIO_Port, &GPIO_InitStruct);

  GPIO_InitStruct.Pin = ARD_D13_Pin|ARD_D12_Pin|ARD_D11_Pin;
  GPIO_InitStruct.Mode = GPIO_MODE_AF_PP;
  GPIO_InitStruct.Pull = GPIO_NOPULL;
  GPIO_InitStruct.Speed = GPIO_SPEED_FREQ_VERY_HIGH;
  GPIO_InitStruct.Alternate = GPIO_AF5_SPI1;
  HAL_GPIO_Init(GPIOA, &GPIO_InitStruct);

  GPIO_InitStruct.Pin = ARD_D3_Pin;
  GPIO_InitStruct.Mode = GPIO_MODE_IT_RISING;
  GPIO_InitStruct.Pull = GPIO_NOPULL;
  HAL_GPIO_Init(ARD_D3_GPIO_Port, &GPIO_InitStruct);

  GPIO_InitStruct.Pin = ARD_D6_Pin;
  GPIO_InitStruct.Mode = GPIO_MODE_ANALOG_ADC_CONTROL;
  GPIO_InitStruct.Pull = GPIO_NOPULL;
  HAL_GPIO_Init(ARD_D6_GPIO_Port, &GPIO_InitStruct);

  GPIO_InitStruct.Pin = ARD_D8_Pin|ISM43362_BOOT0_Pin|ISM43362_WAKEUP_Pin|LED2_Pin|SPSGRF_915_SDN_Pin|ARD_D5_Pin|SPSGRF_915_SPI3_CSN_Pin;
  GPIO_InitStruct.Mode = GPIO_MODE_OUTPUT_PP;
  GPIO_InitStruct.Pull = GPIO_NOPULL;
  GPIO_InitStruct.Speed = GPIO_SPEED_FREQ_LOW;
  HAL_GPIO_Init(GPIOB, &GPIO_InitStruct);

  GPIO_InitStruct.Pin = LPS22HB_INT_DRDY_EXTI0_Pin|LSM6DSL_INT1_EXTI11_Pin|ARD_D2_Pin|HTS221_DRDY_EXTI15_Pin|PMOD_IRQ_EXTI12_Pin;
  GPIO_InitStruct.Mode = GPIO_MODE_IT_RISING;
  GPIO_InitStruct.Pull = GPIO_NOPULL;
  HAL_GPIO_Init(GPIOD, &GPIO_InitStruct);

  GPIO_InitStruct.Pin = USB_OTG_FS_PWR_EN_Pin|SPBTLE_RF_SPI3_CSN_Pin|PMOD_RESET_Pin|STSAFE_A100_RESET_Pin;
  GPIO_InitStruct.Mode = GPIO_MODE_OUTPUT_PP;
  GPIO_InitStruct.Pull = GPIO_NOPULL;
  GPIO_InitStruct.Speed = GPIO_SPEED_FREQ_LOW;
  HAL_GPIO_Init(GPIOD, &GPIO_InitStruct);

  GPIO_InitStruct.Pin = VL53L0X_XSHUT_Pin|LED3_WIFI__LED4_BLE_Pin;
  GPIO_InitStruct.Mode = GPIO_MODE_OUTPUT_PP;
  GPIO_InitStruct.Pull = GPIO_NOPULL;
  HAL_GPIO_Init(GPIOC, &GPIO_InitStruct);

  GPIO_InitStruct.Pin = VL53L0X_GPIO1_EXTI7_Pin|LSM3MDL_DRDY_EXTI8_Pin;
  GPIO_InitStruct.Mode = GPIO_MODE_IT_RISING;
  GPIO_InitStruct.Pull = GPIO_NOPULL;
  HAL_GPIO_Init(GPIOC, &GPIO_InitStruct);

  GPIO_InitStruct.Pin = PMOD_SPI2_SCK_Pin;
  GPIO_InitStruct.Mode = GPIO_MODE_AF_PP;
  GPIO_InitStruct.Pull = GPIO_NOPULL;
  GPIO_InitStruct.Speed = GPIO_SPEED_FREQ_VERY_HIGH;
  GPIO_InitStruct.Alternate = GPIO_AF5_SPI2;
  HAL_GPIO_Init(PMOD_SPI2_SCK_GPIO_Port, &GPIO_InitStruct);

  GPIO_InitStruct.Pin = PMOD_UART2_CTS_Pin|PMOD_UART2_RTS_Pin|PMOD_UART2_TX_Pin|PMOD_UART2_RX_Pin;
  GPIO_InitStruct.Mode = GPIO_MODE_AF_PP;
  GPIO_InitStruct.Pull = GPIO_NOPULL;
  GPIO_InitStruct.Speed = GPIO_SPEED_FREQ_VERY_HIGH;
  GPIO_InitStruct.Alternate = GPIO_AF7_USART2;
  HAL_GPIO_Init(GPIOD, &GPIO_InitStruct);

  GPIO_InitStruct.Pin = ARD_D15_Pin|ARD_D14_Pin;
  GPIO_InitStruct.Mode = GPIO_MODE_AF_OD;
  GPIO_InitStruct.Pull = GPIO_NOPULL;
  GPIO_InitStruct.Speed = GPIO_SPEED_FREQ_VERY_HIGH;
  GPIO_InitStruct.Alternate = GPIO_AF4_I2C1;
  HAL_GPIO_Init(GPIOB, &GPIO_InitStruct);

  HAL_NVIC_SetPriority(EXTI9_5_IRQn, 0, 0);
  HAL_NVIC_EnableIRQ(EXTI9_5_IRQn);

  HAL_NVIC_SetPriority(EXTI15_10_IRQn, 0, 0);
  HAL_NVIC_EnableIRQ(EXTI15_10_IRQn);
}

static void MX_I2C2_Init(void) {
  hi2c2.Instance = I2C2;
  hi2c2.Init.Timing = 0x00F12981;
  hi2c2.Init.OwnAddress1 = 0;
  hi2c2.Init.AddressingMode = I2C_ADDRESSINGMODE_7BIT;
  hi2c2.Init.DualAddressMode = I2C_DUALADDRESS_DISABLE;
  hi2c2.Init.OwnAddress2 = 0;
  hi2c2.Init.OwnAddress2Masks = I2C_OA2_NOMASK;
  hi2c2.Init.GeneralCallMode = I2C_GENERALCALL_DISABLE;
  hi2c2.Init.NoStretchMode = I2C_NOSTRETCH_DISABLE;
  if (HAL_I2C_Init(&hi2c2) != HAL_OK) Error_Handler();
  if (HAL_I2CEx_ConfigAnalogFilter(&hi2c2, I2C_ANALOGFILTER_ENABLE) != HAL_OK) Error_Handler();
  if (HAL_I2CEx_ConfigDigitalFilter(&hi2c2, 0) != HAL_OK) Error_Handler();
}

static void MX_QUADSPI_Init(void) {
  hqspi.Instance = QUADSPI;
  hqspi.Init.ClockPrescaler = 2;
  hqspi.Init.FifoThreshold = 4;
  hqspi.Init.SampleShifting = QSPI_SAMPLE_SHIFTING_HALFCYCLE;
  hqspi.Init.FlashSize = 23;
  hqspi.Init.ChipSelectHighTime = QSPI_CS_HIGH_TIME_1_CYCLE;
  hqspi.Init.ClockMode = QSPI_CLOCK_MODE_0;
  if (HAL_QSPI_Init(&hqspi) != HAL_OK) Error_Handler();
}

static void MX_SPI3_Init(void) {
  hspi3.Instance = SPI3;
  hspi3.Init.Mode = SPI_MODE_MASTER;
  hspi3.Init.Direction = SPI_DIRECTION_2LINES;
  hspi3.Init.DataSize = SPI_DATASIZE_4BIT;
  hspi3.Init.CLKPolarity = SPI_POLARITY_LOW;
  hspi3.Init.CLKPhase = SPI_PHASE_1EDGE;
  hspi3.Init.NSS = SPI_NSS_SOFT;
  hspi3.Init.BaudRatePrescaler = SPI_BAUDRATEPRESCALER_2;
  hspi3.Init.FirstBit = SPI_FIRSTBIT_MSB;
  hspi3.Init.TIMode = SPI_TIMODE_DISABLE;
  hspi3.Init.CRCCalculation = SPI_CRCCALCULATION_DISABLE;
  hspi3.Init.CRCPolynomial = 7;
  hspi3.Init.CRCLength = SPI_CRC_LENGTH_DATASIZE;
  hspi3.Init.NSSPMode = SPI_NSS_PULSE_ENABLE;
  if (HAL_SPI_Init(&hspi3) != HAL_OK) Error_Handler();
}

static void MX_USART1_UART_Init(void) {
  huart1.Instance = USART1;
  huart1.Init.BaudRate = 115200;
  huart1.Init.WordLength = UART_WORDLENGTH_8B;
  huart1.Init.StopBits = UART_STOPBITS_1;
  huart1.Init.Parity = UART_PARITY_NONE;
  huart1.Init.Mode = UART_MODE_TX_RX;
  huart1.Init.HwFlowCtl = UART_HWCONTROL_NONE;
  huart1.Init.OverSampling = UART_OVERSAMPLING_16;
  huart1.Init.OneBitSampling = UART_ONE_BIT_SAMPLE_DISABLE;
  huart1.AdvancedInit.AdvFeatureInit = UART_ADVFEATURE_NO_INIT;
  if (HAL_UART_Init(&huart1) != HAL_OK) Error_Handler();
}

static void MX_USART3_UART_Init(void) {
  huart3.Instance = USART3;
  huart3.Init.BaudRate = 115200;
  huart3.Init.WordLength = UART_WORDLENGTH_8B;
  huart3.Init.StopBits = UART_STOPBITS_1;
  huart3.Init.Parity = UART_PARITY_NONE;
  huart3.Init.Mode = UART_MODE_TX_RX;
  huart3.Init.HwFlowCtl = UART_HWCONTROL_NONE;
  huart3.Init.OverSampling = UART_OVERSAMPLING_16;
  huart3.Init.OneBitSampling = UART_ONE_BIT_SAMPLE_DISABLE;
  huart3.AdvancedInit.AdvFeatureInit = UART_ADVFEATURE_NO_INIT;
  if (HAL_UART_Init(&huart3) != HAL_OK) Error_Handler();
}

void Error_Handler(void)
{
  __disable_irq();
  while (1)
  {
  }
}
